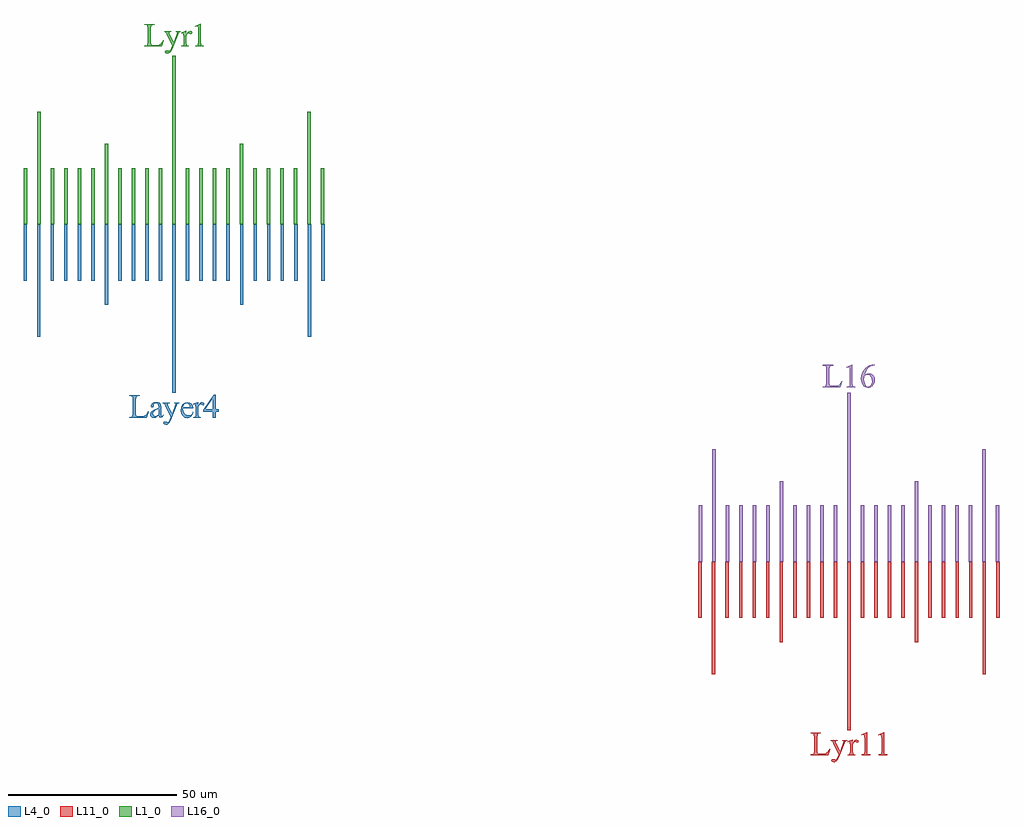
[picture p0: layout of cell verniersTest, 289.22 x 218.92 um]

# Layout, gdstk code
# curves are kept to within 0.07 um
import gdstk
lib = gdstk.Library(unit=1e-6, precision=1e-09)
def R(c, l, rs):  # rectangles x0, y0, x1, y1
    for r in rs: c.add(gdstk.rectangle(r[:2], r[2:], *l))
def A(c, l, x, y, w, h, nx, ny, dx, dy):  # array of equal rectangles
    R(c, l, [(x+i*dx, y+j*dy, x+i*dx+w, y+j*dy+h) for i in range(nx) for j in range(ny)])
def P(c, l, *ps):  # polygons
    for p in ps: c.add(gdstk.Polygon(p, *l))
L1_0 = (1, 0)
L4_0 = (4, 0)
L11_0 = (11, 0)
L16_0 = (16, 0)

vernierstest = lib.new_cell('verniersTest')
A(vernierstest, L1_0, -36.5, 0, 1, 16.667, 4, 1, 4, 0)
A(vernierstest, L1_0, -16.5, 0, 1, 16.667, 4, 1, 4, 0)
A(vernierstest, L1_0, 3.5, 0, 1, 16.667, 4, 1, 4, 0)
A(vernierstest, L1_0, 23.5, 0, 1, 16.667, 4, 1, 4, 0)
R(vernierstest, L1_0, [(-44.5,0,-43.5,16.667), (-40.5,0,-39.5,33.333), (-20.5,0,-19.5,23.81), (-0.5,0,0.5,50), (19.5,0,20.5,23.81), (39.5,0,40.5,33.333), (43.5,0,44.5,16.667)])
P(vernierstest, L1_0, [(-2.039,50.539),(-2.523,50.703),(-2.711,51.086),(-2.57,51.414),(-2.195,51.539),(-1.523,51.352),(-1.195,51.508),(-0.523,52.867),(-2.133,56.242),(-2.57,56.852),(-2.93,56.992),(-2.93,57.164),(-0.852,57.164),(-0.852,56.992),(-1.273,56.898),(-1.383,56.648),(-1.227,56.133),(-0.133,53.867),(0.867,56.336),(0.945,56.742),(0.789,56.961),(0.492,56.992),(0.492,57.164),(1.945,57.164),(1.945,56.992),(1.672,56.906),(1.461,56.695),(-0.523,51.852),(-0.83,51.277),(-1.219,50.867),(-1.639,50.621)],
  [(2.117,52.695),(2.117,52.867),(2.633,52.977),(2.805,53.227),(2.82,55.43),(2.789,56.359),(2.672,56.578),(2.461,56.648),(2.117,56.57),(2.07,56.758),(3.43,57.305),(3.633,57.305),(3.633,56.289),(4.203,57.051),(4.494,57.241),(4.789,57.305),(5.227,57.141),(5.398,56.758),(5.273,56.438),(4.977,56.305),(4.273,56.648),(4.086,56.539),(3.633,55.883),(3.633,53.742),(3.727,53.18),(3.945,52.961),(4.414,52.867),(4.414,52.695)],
  [(-8.789,52.695),(-8.789,52.883),(-8.18,52.949),(-7.945,53.148),(-7.836,53.867),(-7.871,58.645),(-7.977,58.914),(-8.211,59.078),(-8.789,59.133),(-8.789,59.32),(-5.789,59.32),(-5.789,59.133),(-6.531,59.039),(-6.82,58.773),(-6.898,58.039),(-6.898,53.867),(-6.82,53.32),(-6.641,53.164),(-5.883,53.117),(-4.328,53.227),(-3.766,53.625),(-3.258,54.523),(-3.102,54.492),(-3.664,52.695)],
  [(6.305,52.695),(6.305,52.883),(6.906,52.953),(7.094,53.148),(7.148,57.43),(7.102,58.367),(6.977,58.594),(6.758,58.664),(6.258,58.523),(6.18,58.664),(7.789,59.461),(7.945,59.461),(7.992,53.172),(8.188,52.961),(8.789,52.883),(8.789,52.695)])
A(vernierstest, L4_0, -36.59, -16.667, 1, 16.667, 4, 1, 4.01, 0)
A(vernierstest, L4_0, -16.54, -16.667, 1, 16.667, 4, 1, 4.01, 0)
A(vernierstest, L4_0, 3.51, -16.667, 1, 16.667, 4, 1, 4.01, 0)
A(vernierstest, L4_0, 23.56, -16.667, 1, 16.667, 4, 1, 4.01, 0)
R(vernierstest, L4_0, [(-0.5,-50,0.5,0), (-40.6,-33.333,-39.6,0), (39.6,-33.333,40.6,0), (-20.55,-23.81,-19.55,0), (19.55,-23.81,20.55,0), (-44.61,-16.667,-43.61,0), (43.61,-16.667,44.61,0)])
P(vernierstest, L4_0, [(-2.477,-59.461),(-2.961,-59.297),(-3.148,-58.914),(-3.008,-58.586),(-2.633,-58.461),(-1.961,-58.648),(-1.633,-58.492),(-0.961,-57.133),(-2.57,-53.758),(-3.008,-53.148),(-3.367,-53.008),(-3.367,-52.836),(-1.289,-52.836),(-1.289,-53.008),(-1.711,-53.102),(-1.82,-53.352),(-1.664,-53.867),(-0.57,-56.133),(0.43,-53.664),(0.508,-53.258),(0.352,-53.039),(0.055,-53.008),(0.055,-52.836),(1.508,-52.836),(1.508,-53.008),(1.234,-53.094),(1.023,-53.305),(-0.961,-58.148),(-1.268,-58.723),(-1.656,-59.133),(-2.076,-59.379)],
  [(-6.008,-57.398),(-6.434,-57.318),(-6.773,-57.078),(-6.92,-56.836),(-5.555,-56.836),(-5.133,-56.711),(-4.586,-56.336),(-4.586,-54.633),(-5.539,-55.055),(-6.086,-55.508),(-6.258,-56.008),(-6.205,-56.336),(-6.047,-56.602),(-5.818,-56.777),(-5.555,-56.836),(-6.92,-56.836),(-7.07,-56.242),(-6.93,-55.68),(-6.654,-55.359),(-6.234,-55.055),(-4.586,-54.336),(-4.639,-53.598),(-4.797,-53.242),(-5.057,-53.055),(-5.691,-53.035),(-5.898,-53.164),(-6.086,-53.539),(-6.07,-53.82),(-6.187,-54.172),(-6.492,-54.289),(-6.789,-54.164),(-6.898,-53.82),(-6.791,-53.416),(-6.469,-53.047),(-5.955,-52.783),(-5.273,-52.695),(-4.723,-52.746),(-4.289,-52.898),(-3.867,-53.367),(-3.773,-54.227),(-3.75,-56.539),(-3.672,-56.727),(-3.398,-56.742),(-3.008,-56.383),(-3.008,-56.664),(-3.543,-57.215),(-4.055,-57.398),(-4.43,-57.227),(-4.586,-56.664),(-5.445,-57.273)],
  [(3.898,-57.445),(3.146,-57.287),(2.516,-56.812),(2.088,-56.076),(1.945,-55.133),(2.075,-54.227),(4.711,-54.227),(4.602,-53.633),(4.234,-53.195),(3.727,-53.039),(3.354,-53.117),(3.016,-53.352),(2.76,-53.727),(2.633,-54.227),(2.075,-54.227),(2.531,-53.336),(3.193,-52.855),(4.008,-52.695),(4.691,-52.818),(5.242,-53.187),(5.605,-53.768),(5.727,-54.523),(2.633,-54.523),(2.754,-55.406),(3.117,-56.086),(3.648,-56.508),(4.273,-56.648),(4.682,-56.588),(5.031,-56.406),(5.326,-56.076),(5.57,-55.57),(5.727,-55.68),(5.521,-56.311),(5.125,-56.891),(4.572,-57.307)],
  [(5.68,-57.305),(5.68,-57.133),(6.195,-57.023),(6.367,-56.773),(6.383,-54.57),(6.352,-53.641),(6.234,-53.422),(6.023,-53.352),(5.68,-53.43),(5.633,-53.242),(6.992,-52.695),(7.195,-52.695),(7.195,-53.711),(7.766,-52.949),(8.057,-52.759),(8.352,-52.695),(8.789,-52.859),(8.961,-53.242),(8.836,-53.562),(8.539,-53.695),(7.836,-53.352),(7.648,-53.461),(7.195,-54.117),(7.195,-56.258),(7.289,-56.82),(7.508,-57.039),(7.977,-57.133),(7.977,-57.305)],
  [(-13.227,-57.305),(-13.227,-57.117),(-12.617,-57.051),(-12.383,-56.852),(-12.273,-56.133),(-12.309,-51.355),(-12.414,-51.086),(-12.648,-50.922),(-13.227,-50.867),(-13.227,-50.68),(-10.227,-50.68),(-10.227,-50.867),(-10.969,-50.961),(-11.258,-51.227),(-11.336,-51.961),(-11.336,-56.133),(-11.258,-56.68),(-11.078,-56.836),(-10.32,-56.883),(-8.766,-56.773),(-8.203,-56.375),(-7.695,-55.477),(-7.539,-55.508),(-8.102,-57.305)],
  [(11.523,-57.305),(11.523,-55.555),(8.727,-55.555),(8.727,-54.93),(8.77,-54.867),(11.523,-54.867),(11.523,-51.57),(9.211,-54.867),(8.77,-54.867),(11.805,-50.539),(12.336,-50.539),(12.336,-54.867),(13.227,-54.867),(13.227,-55.555),(12.336,-55.555),(12.336,-57.305)])
A(vernierstest, L11_0, 163.41, -116.667, 1, 16.667, 4, 1, 4.01, 0)
A(vernierstest, L11_0, 183.46, -116.667, 1, 16.667, 4, 1, 4.01, 0)
A(vernierstest, L11_0, 203.51, -116.667, 1, 16.667, 4, 1, 4.01, 0)
A(vernierstest, L11_0, 223.56, -116.667, 1, 16.667, 4, 1, 4.01, 0)
R(vernierstest, L11_0, [(199.5,-150,200.5,-100), (159.4,-133.333,160.4,-100), (239.6,-133.333,240.6,-100), (179.45,-123.81,180.45,-100), (219.55,-123.81,220.55,-100), (155.39,-116.667,156.39,-100), (243.61,-116.667,244.61,-100)])
P(vernierstest, L11_0, [(195.461,-159.461),(194.977,-159.297),(194.789,-158.914),(194.93,-158.586),(195.305,-158.461),(195.977,-158.648),(196.305,-158.492),(196.977,-157.133),(195.367,-153.758),(194.93,-153.148),(194.57,-153.008),(194.57,-152.836),(196.648,-152.836),(196.648,-153.008),(196.227,-153.102),(196.117,-153.352),(196.273,-153.867),(197.367,-156.133),(198.367,-153.664),(198.445,-153.258),(198.289,-153.039),(197.992,-153.008),(197.992,-152.836),(199.445,-152.836),(199.445,-153.008),(199.172,-153.094),(198.961,-153.305),(196.977,-158.148),(196.67,-158.723),(196.281,-159.133),(195.861,-159.379)],
  [(199.617,-157.305),(199.617,-157.133),(200.133,-157.023),(200.305,-156.773),(200.32,-154.57),(200.289,-153.641),(200.172,-153.422),(199.961,-153.352),(199.617,-153.43),(199.57,-153.242),(200.93,-152.695),(201.133,-152.695),(201.133,-153.711),(201.703,-152.949),(201.994,-152.759),(202.289,-152.695),(202.727,-152.859),(202.898,-153.242),(202.773,-153.562),(202.477,-153.695),(201.773,-153.352),(201.586,-153.461),(201.133,-154.117),(201.133,-156.258),(201.227,-156.82),(201.445,-157.039),(201.914,-157.133),(201.914,-157.305)],
  [(188.711,-157.305),(188.711,-157.117),(189.32,-157.051),(189.555,-156.852),(189.664,-156.133),(189.629,-151.355),(189.523,-151.086),(189.289,-150.922),(188.711,-150.867),(188.711,-150.68),(191.711,-150.68),(191.711,-150.867),(190.969,-150.961),(190.68,-151.227),(190.602,-151.961),(190.602,-156.133),(190.68,-156.68),(190.859,-156.836),(191.617,-156.883),(193.172,-156.773),(193.734,-156.375),(194.242,-155.477),(194.398,-155.508),(193.836,-157.305)],
  [(203.805,-157.305),(203.805,-157.117),(204.406,-157.047),(204.594,-156.852),(204.648,-152.57),(204.602,-151.633),(204.477,-151.406),(204.258,-151.336),(203.758,-151.477),(203.68,-151.336),(205.289,-150.539),(205.445,-150.539),(205.492,-156.828),(205.688,-157.039),(206.289,-157.117),(206.289,-157.305)],
  [(208.805,-157.305),(208.805,-157.117),(209.406,-157.047),(209.594,-156.852),(209.648,-152.57),(209.602,-151.633),(209.477,-151.406),(209.258,-151.336),(208.758,-151.477),(208.68,-151.336),(210.289,-150.539),(210.445,-150.539),(210.492,-156.828),(210.688,-157.039),(211.289,-157.117),(211.289,-157.305)])
A(vernierstest, L16_0, 163.5, -100, 1, 16.667, 4, 1, 4, 0)
A(vernierstest, L16_0, 183.5, -100, 1, 16.667, 4, 1, 4, 0)
A(vernierstest, L16_0, 203.5, -100, 1, 16.667, 4, 1, 4, 0)
A(vernierstest, L16_0, 223.5, -100, 1, 16.667, 4, 1, 4, 0)
R(vernierstest, L16_0, [(155.5,-100,156.5,-83.333), (159.5,-100,160.5,-66.667), (179.5,-100,180.5,-76.19), (199.5,-100,200.5,-50), (219.5,-100,220.5,-76.19), (239.5,-100,240.5,-66.667), (243.5,-100,244.5,-83.333)])
P(vernierstest, L16_0, [(192.297,-48.32),(192.297,-48.133),(192.906,-48.066),(193.141,-47.867),(193.25,-47.148),(193.215,-42.371),(193.109,-42.102),(192.875,-41.937),(192.297,-41.883),(192.297,-41.695),(195.297,-41.695),(195.297,-41.883),(194.555,-41.977),(194.266,-42.242),(194.188,-42.977),(194.188,-47.148),(194.266,-47.695),(194.445,-47.852),(195.203,-47.898),(196.758,-47.789),(197.32,-47.391),(197.828,-46.492),(197.984,-46.523),(197.422,-48.32)],
  [(199.391,-48.32),(199.391,-48.133),(199.992,-48.062),(200.18,-47.867),(200.234,-43.586),(200.188,-42.648),(200.063,-42.422),(199.844,-42.352),(199.344,-42.492),(199.266,-42.352),(200.875,-41.555),(201.031,-41.555),(201.078,-47.844),(201.273,-48.055),(201.875,-48.133),(201.875,-48.32)],
  [(205.609,-48.445),(204.977,-48.332),(204.718,-48.164),(205.75,-48.164),(206.15,-48.064),(206.508,-47.766),(206.76,-47.279),(206.844,-46.617),(206.76,-45.844),(206.508,-45.18),(206.104,-44.723),(205.563,-44.57),(205.164,-44.648),(204.547,-44.977),(204.453,-46.039),(204.625,-47.062),(204.84,-47.557),(205.141,-47.93),(205.418,-48.105),(205.75,-48.164),(204.718,-48.164),(204.453,-47.992),(204.05,-47.522),(203.762,-46.988),(203.589,-46.39),(203.531,-45.727),(203.619,-44.857),(203.883,-44.031),(204.313,-43.273),(204.898,-42.609),(205.547,-42.092),(206.164,-41.773),(206.748,-41.609),(207.578,-41.555),(207.578,-41.742),(206.523,-42),(205.719,-42.586),(205.063,-43.469),(204.625,-44.617),(205.328,-44.254),(206.031,-44.133),(206.67,-44.27),(207.211,-44.68),(207.58,-45.305),(207.703,-46.086),(207.578,-46.887),(207.203,-47.602),(206.5,-48.234)])

lib.write_gds('verniersTest.gds')
